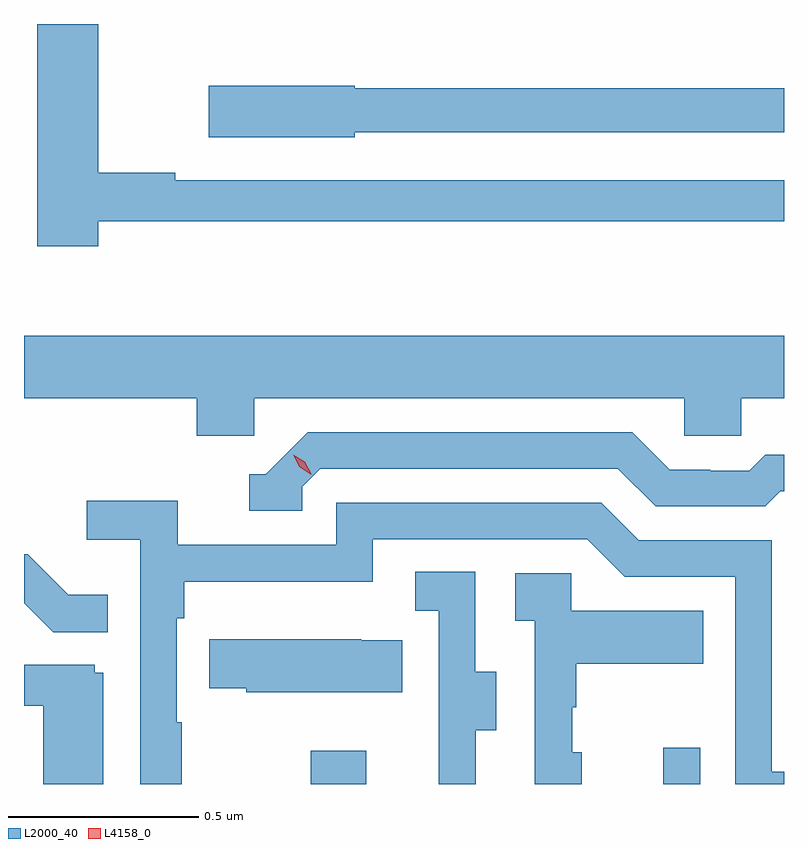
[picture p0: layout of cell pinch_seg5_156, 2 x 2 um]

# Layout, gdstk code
import gdstk
lib = gdstk.Library(unit=1e-6, precision=1e-09)
def R(c, l, rs):  # rectangles x0, y0, x1, y1
    for r in rs: c.add(gdstk.rectangle(r[:2], r[2:], *l))
def P(c, l, *ps):  # polygons
    for p in ps: c.add(gdstk.Polygon(p, *l))
L2000_40 = (2000, 40)
L4158_0 = (4158, 0)

pinch_seg5_156 = lib.new_cell('pinch_seg5_156')
R(pinch_seg5_156, L2000_40, [(1091.122,881.053,1091.269,881.14), (1092.05,881.053,1092.147,881.149)])
P(pinch_seg5_156, L2000_40, [(1090.564,882.534),(1092.368,882.534),(1092.368,882.642),(1090.766,882.642),(1090.766,882.662),(1090.564,882.662),(1090.564,883.053),(1090.403,883.053),(1090.403,882.468),(1090.564,882.468)],
  [(1091.238,882.768),(1092.368,882.768),(1092.368,882.884),(1091.238,882.884),(1091.238,882.89),(1090.854,882.89),(1090.854,882.755),(1091.238,882.755)],
  [(1090.974,882.068),(1092.105,882.068),(1092.105,881.97),(1092.255,881.97),(1092.255,882.068),(1092.368,882.068),(1092.368,882.232),(1090.368,882.232),(1090.368,882.068),(1090.823,882.068),(1090.823,881.97),(1090.974,881.97)],
  [(1091.1,881.835),(1091.148,881.883),(1091.931,881.883),(1092.03,881.784),(1092.319,881.784),(1092.358,881.823),(1092.368,881.823),(1092.368,881.92),(1092.319,881.92),(1092.277,881.877),(1092.174,881.877),(1092.174,881.88),(1092.067,881.88),(1091.968,881.979),(1091.115,881.979),(1091.004,881.868),(1090.961,881.868),(1090.961,881.772),(1091.1,881.772)],
  [(1090.783,881.216),(1090.77,881.216),(1090.77,881.489),(1090.79,881.489),(1090.79,881.585),(1091.286,881.585),(1091.286,881.697),(1091.85,881.697),(1091.949,881.598),(1092.24,881.598),(1092.24,881.053),(1092.368,881.053),(1092.368,881.085),(1092.336,881.085),(1092.336,881.694),(1091.986,881.694),(1091.887,881.793),(1091.19,881.793),(1091.19,881.682),(1090.772,881.682),(1090.772,881.798),(1090.533,881.798),(1090.533,881.696),(1090.674,881.696),(1090.674,881.053),(1090.783,881.053)],
  [(1090.589,881.551),(1090.485,881.551),(1090.378,881.658),(1090.368,881.658),(1090.368,881.529),(1090.445,881.452),(1090.589,881.452)],
  [(1091.557,881.194),(1091.611,881.194),(1091.611,881.349),(1091.556,881.349),(1091.556,881.612),(1091.397,881.612),(1091.397,881.509),(1091.46,881.509),(1091.46,881.205),(1091.459,881.205),(1091.459,881.053),(1091.557,881.053)],
  [(1091.836,881.136),(1091.811,881.136),(1091.811,881.255),(1091.821,881.255),(1091.821,881.369),(1092.155,881.369),(1092.155,881.509),(1091.808,881.509),(1091.808,881.607),(1091.661,881.607),(1091.661,881.483),(1091.712,881.483),(1091.712,881.053),(1091.836,881.053)],
  [(1091.363,881.431),(1091.255,881.431),(1091.255,881.434),(1090.855,881.434),(1090.855,881.305),(1090.953,881.305),(1090.953,881.294),(1091.363,881.294)],
  [(1090.576,881.346),(1090.554,881.346),(1090.554,881.367),(1090.368,881.367),(1090.368,881.259),(1090.418,881.259),(1090.418,881.053),(1090.576,881.053)])
P(pinch_seg5_156, L4158_0, [(1091.123,881.868),(1091.092,881.888),(1091.076,881.92),(1091.076,881.92),(1091.076,881.92),(1091.107,881.901),(1091.124,881.869),(1091.124,881.868)])

lib.write_gds('pinch_seg5_156.gds')
